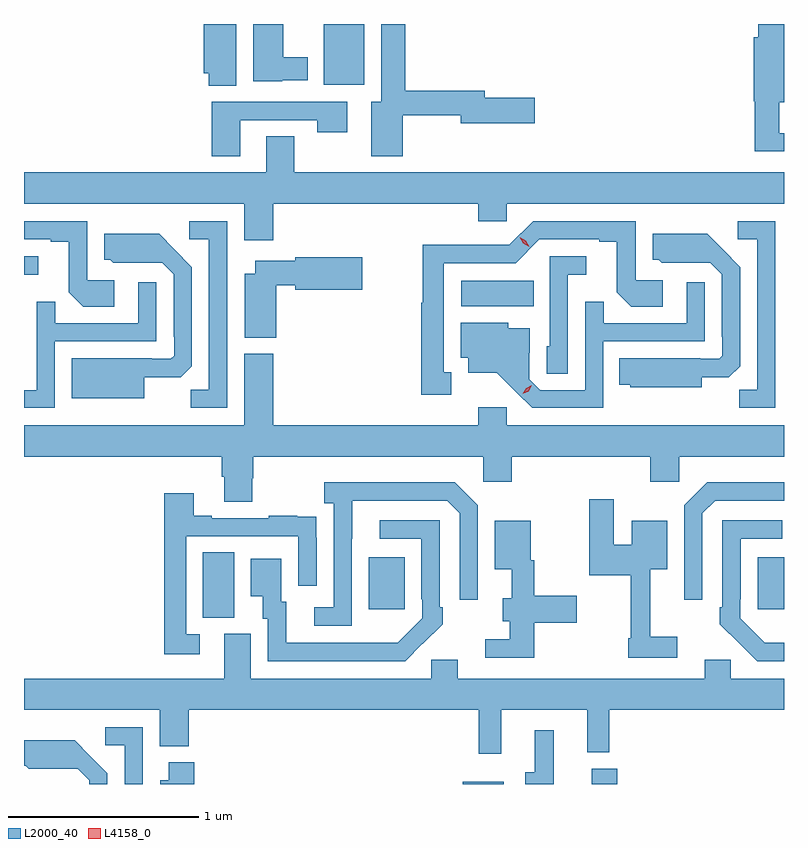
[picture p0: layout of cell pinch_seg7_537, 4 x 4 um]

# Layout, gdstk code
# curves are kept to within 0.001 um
import gdstk
lib = gdstk.Library(unit=1e-6, precision=1e-09)
def R(c, l, rs):  # rectangles x0, y0, x1, y1
    for r in rs: c.add(gdstk.rectangle(r[:2], r[2:], *l))
def P(c, l, *ps):  # polygons
    for p in ps: c.add(gdstk.Polygon(p, *l))
L2000_40 = (2000, 40)
L4158_0 = (4158, 0)

pinch_seg7_537 = lib.new_cell('pinch_seg7_537')
R(pinch_seg7_537, L2000_40, [(138.938,1056.169,139.153,1056.181), (139.616,1056.169,139.751,1056.25), (137.57,1057.045,137.734,1057.388), (138.443,1057.089,138.631,1057.363), (140.489,1057.089,140.628,1057.363), (138.93,1058.684,139.31,1058.818), (136.628,1058.849,136.702,1058.946), (138.206,1059.848,138.418,1060.169)])
P(pinch_seg7_537, L2000_40, [(140.628,1059.595),(140.602,1059.595),(140.602,1059.758),(140.628,1059.758),(140.628,1060.169),(140.492,1060.169),(140.492,1060.098),(140.468,1060.098),(140.468,1059.762),(140.473,1059.762),(140.473,1059.498),(140.628,1059.498)],
  [(137.988,1059.872),(138.121,1059.872),(138.121,1059.994),(137.992,1059.994),(137.992,1060.169),(137.834,1060.169),(137.834,1059.869),(137.988,1059.869)],
  [(138.622,1059.69),(138.926,1059.69),(138.926,1059.647),(139.315,1059.647),(139.315,1059.782),(139.054,1059.782),(139.054,1059.818),(138.635,1059.818),(138.635,1060.169),(138.509,1060.169),(138.509,1059.76),(138.455,1059.76),(138.455,1059.474),(138.622,1059.474)],
  [(137.746,1060.169),(137.573,1060.169),(137.573,1059.911),(137.6,1059.911),(137.6,1059.844),(137.746,1059.844)],
  [(137.767,1059.663),(138.172,1059.663),(138.172,1059.6),(138.328,1059.6),(138.328,1059.759),(137.615,1059.759),(137.615,1059.474),(137.767,1059.474)],
  [(138.051,1059.578),(137.903,1059.578),(137.903,1059.388),(136.628,1059.388),(136.628,1059.224),(137.786,1059.224),(137.786,1059.03),(137.939,1059.03),(137.939,1059.224),(139.019,1059.224),(139.019,1059.131),(139.17,1059.131),(139.17,1059.224),(140.628,1059.224),(140.628,1059.388),(138.051,1059.388)],
  [(138.877,1058.337),(138.838,1058.337),(138.838,1058.91),(139.215,1058.91),(139.341,1059.036),(139.655,1059.036),(139.655,1059.024),(139.749,1059.024),(139.749,1058.756),(139.825,1058.68),(139.99,1058.68),(139.99,1058.82),(139.848,1058.82),(139.848,1059.132),(139.308,1059.132),(139.182,1059.006),(138.96,1059.006),(138.96,1059.008),(138.727,1059.008),(138.727,1058.703),(138.72,1058.703),(138.72,1058.217),(138.877,1058.217)],
  [(137.697,1059.132),(137.499,1059.132),(137.499,1059.036),(137.601,1059.036),(137.601,1058.243),(137.506,1058.243),(137.506,1058.148),(137.697,1058.148)],
  [(137.104,1058.82),(136.962,1058.82),(136.962,1059.132),(136.628,1059.132),(136.628,1059.036),(136.769,1059.036),(136.769,1059.024),(136.863,1059.024),(136.863,1058.756),(136.939,1058.68),(137.104,1058.68)],
  [(140.583,1059.132),(140.385,1059.132),(140.385,1059.036),(140.487,1059.036),(140.487,1058.243),(140.392,1058.243),(140.392,1058.148),(140.583,1058.148)],
  [(137.26,1058.309),(137.452,1058.309),(137.511,1058.368),(137.511,1058.89),(137.339,1059.064),(137.051,1059.064),(137.051,1058.928),(137.082,1058.928),(137.098,1058.912),(137.355,1058.913),(137.415,1058.853),(137.415,1058.524),(137.418,1058.524),(137.418,1058.424),(137.4,1058.406),(137.3,1058.406),(137.3,1058.41),(136.88,1058.41),(136.88,1058.198),(137.26,1058.198)],
  [(140.194,1058.309),(140.338,1058.309),(140.397,1058.368),(140.397,1058.89),(140.225,1059.064),(139.937,1059.064),(139.937,1058.928),(139.968,1058.928),(139.984,1058.912),(140.241,1058.913),(140.301,1058.853),(140.301,1058.524),(140.304,1058.524),(140.304,1058.424),(140.286,1058.406),(140.186,1058.406),(140.186,1058.41),(139.762,1058.41),(139.762,1058.27),(139.818,1058.27),(139.818,1058.258),(140.194,1058.258)],
  [(139.491,1058.849),(139.588,1058.849),(139.588,1058.946),(139.395,1058.946),(139.395,1058.472),(139.38,1058.472),(139.38,1058.329),(139.491,1058.329)],
  [(137.956,1058.794),(138.056,1058.794),(138.056,1058.771),(138.409,1058.771),(138.409,1058.941),(138.056,1058.941),(138.056,1058.923),(137.846,1058.923),(137.846,1058.854),(137.789,1058.854),(137.789,1058.519),(137.956,1058.519)],
  [(139.677,1058.499),(140.211,1058.499),(140.211,1058.809),(140.115,1058.809),(140.115,1058.595),(139.679,1058.595),(139.679,1058.708),(139.581,1058.708),(139.581,1058.241),(139.344,1058.241),(139.287,1058.298),(139.287,1058.44),(139.291,1058.44),(139.291,1058.569),(139.176,1058.569),(139.176,1058.596),(138.926,1058.596),(138.926,1058.412),(138.965,1058.412),(138.965,1058.333),(139.117,1058.333),(139.304,1058.148),(139.677,1058.148)],
  [(136.791,1058.499),(137.325,1058.499),(137.325,1058.809),(137.229,1058.809),(137.229,1058.595),(136.793,1058.595),(136.793,1058.708),(136.695,1058.708),(136.695,1058.241),(136.628,1058.241),(136.628,1058.148),(136.791,1058.148)],
  [(137.829,1057.779),(137.834,1057.779),(137.834,1057.892),(139.044,1057.892),(139.044,1057.761),(139.196,1057.761),(139.196,1057.892),(139.925,1057.892),(139.925,1057.761),(140.076,1057.761),(140.076,1057.892),(140.628,1057.892),(140.628,1058.056),(139.17,1058.056),(139.17,1058.152),(139.019,1058.152),(139.019,1058.056),(137.939,1058.056),(137.939,1058.434),(137.786,1058.434),(137.786,1058.056),(136.628,1058.056),(136.628,1057.892),(137.669,1057.892),(137.669,1057.786),(137.681,1057.786),(137.681,1057.654),(137.829,1057.654)],
  [(138.354,1057.459),(138.355,1057.659),(138.855,1057.659),(138.921,1057.593),(138.921,1057.14),(139.017,1057.14),(139.017,1057.635),(138.896,1057.756),(138.207,1057.756),(138.207,1057.646),(138.258,1057.646),(138.258,1057.098),(138.156,1057.098),(138.156,1057.002),(138.354,1057.002)],
  [(140.199,1057.593),(140.265,1057.659),(140.628,1057.659),(140.628,1057.756),(140.224,1057.756),(140.103,1057.635),(140.103,1057.14),(140.199,1057.14)],
  [(137.554,1056.957),(137.481,1056.957),(137.481,1057.473),(138.072,1057.473),(138.072,1057.212),(138.168,1057.212),(138.168,1057.466),(138.167,1057.466),(138.167,1057.575),(138.065,1057.575),(138.065,1057.582),(137.917,1057.582),(137.917,1057.569),(137.617,1057.569),(137.617,1057.582),(137.521,1057.582),(137.521,1057.699),(137.365,1057.699),(137.365,1056.852),(137.554,1056.852)],
  [(140.065,1056.943),(139.925,1056.943),(139.925,1057.298),(140.014,1057.298),(140.014,1057.555),(139.826,1057.555),(139.826,1057.428),(139.732,1057.428),(139.732,1057.669),(139.603,1057.669),(139.603,1057.268),(139.822,1057.268),(139.822,1056.937),(139.807,1056.937),(139.807,1056.834),(140.065,1056.834)],
  [(138.725,1056.907),(138.726,1056.906),(138.831,1057.011),(138.831,1057.099),(138.816,1057.099),(138.816,1057.557),(138.501,1057.557),(138.501,1057.461),(138.72,1057.461),(138.72,1057.141),(138.723,1057.141),(138.723,1057.041),(138.595,1056.913),(138.007,1056.912),(138.007,1057.128),(137.983,1057.128),(137.983,1057.354),(137.822,1057.354),(137.822,1057.157),(137.885,1057.157),(137.885,1057.038),(137.91,1057.038),(137.91,1056.816),(138.634,1056.816)],
  [(140.628,1056.913),(140.526,1056.913),(140.397,1057.041),(140.397,1057.141),(140.4,1057.141),(140.4,1057.461),(140.62,1057.461),(140.62,1057.557),(140.304,1057.557),(140.304,1057.099),(140.289,1057.099),(140.289,1057.011),(140.486,1056.816),(140.628,1056.816)],
  [(139.313,1057.018),(139.537,1057.018),(139.537,1057.16),(139.313,1057.16),(139.313,1057.347),(139.294,1057.347),(139.294,1057.555),(139.106,1057.555),(139.106,1057.298),(139.196,1057.298),(139.196,1057.147),(139.148,1057.147),(139.148,1057.025),(139.185,1057.025),(139.185,1056.93),(139.056,1056.93),(139.056,1056.834),(139.313,1056.834)],
  [(139.139,1056.56),(139.592,1056.56),(139.592,1056.335),(139.709,1056.335),(139.709,1056.56),(140.628,1056.56),(140.628,1056.724),(140.349,1056.724),(140.349,1056.822),(140.21,1056.822),(140.21,1056.724),(138.91,1056.724),(138.91,1056.822),(138.771,1056.822),(138.771,1056.724),(137.821,1056.724),(137.821,1056.96),(137.681,1056.96),(137.681,1056.724),(136.628,1056.724),(136.628,1056.56),(137.342,1056.56),(137.342,1056.368),(137.495,1056.368),(137.495,1056.56),(139.021,1056.56),(139.021,1056.327),(139.139,1056.327)],
  [(137.253,1056.468),(137.055,1056.468),(137.055,1056.372),(137.157,1056.372),(137.157,1056.169),(137.253,1056.169)],
  [(139.415,1056.451),(139.316,1056.451),(139.316,1056.232),(139.265,1056.232),(139.265,1056.169),(139.415,1056.169)],
  [(137.067,1056.226),(136.895,1056.4),(136.628,1056.4),(136.628,1056.264),(136.638,1056.264),(136.654,1056.248),(136.911,1056.249),(136.971,1056.189),(136.971,1056.169),(137.067,1056.169)],
  [(137.525,1056.283),(137.39,1056.283),(137.39,1056.19),(137.345,1056.19),(137.345,1056.169),(137.525,1056.169)])
P(pinch_seg7_537, L4158_0, [(139.254,1058.222),(139.254,1058.222),(139.271,1058.252),(139.301,1058.267),(139.301,1058.267),(139.301,1058.267),(139.285,1058.237),(139.254,1058.222)],
  [(139.287,1058.996),(139.255,1059.014),(139.238,1059.047),(139.238,1059.047),(139.238,1059.047),(139.27,1059.028),(139.287,1058.996),(139.287,1058.996)])

lib.write_gds('pinch_seg7_537.gds')
